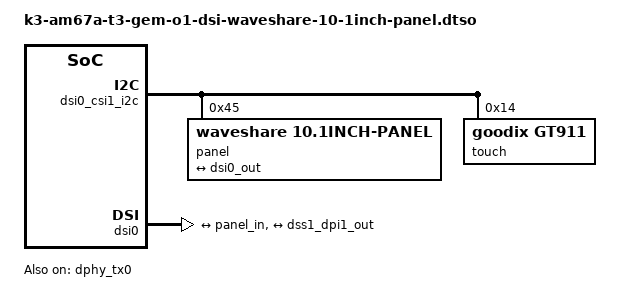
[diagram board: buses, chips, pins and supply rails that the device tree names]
// SPDX-License-Identifier: GPL-2.0
/**
 * DT Overlay for RPi 10.1inch touchscreen panel interfaced with DSI on
 *
 * Waveshare DSI Panel: https://www.waveshare.com/product/10.1inch-dsi-lcd-c.htm
 *
 * Copyright (C) 2025 T3 Foundation - https://www.t3vakfi.org
 */

/dts-v1/;
/plugin/;

#include <dt-bindings/gpio/gpio.h>
#include <dt-bindings/interrupt-controller/irq.h>

/*
 * Helper to show loaded overlays under: /proc/device-tree/chosen/overlays/
 */
&{/chosen} {
	overlays {
		k3-am67a-t3-gem-o1-dsi-rpi-10-1inch-c-panel.kernel = __TIMESTAMP__;
	};
};

&{/} {
	mipi_switch: mipi-switch {
		oe-pin {
			default-state = "off";
		};

		sel-pin {
			default-state = "off";
		};
	};

};

&dphy_tx0 {
	status = "okay";
};

&dsi0_csi1_i2c {
	#address-cells = <1>;
	#size-cells = <0>;

	panel: panel_disp1@45 {
		reg = <0x45>;
		compatible = "waveshare,10.1inch-panel";

		port {
			panel_in: endpoint {
				remote-endpoint = <&dsi0_out>;
			};
		};
	};

	touch: goodix@14 {
		reg = <0x14>;
		compatible = "goodix,gt911";
		
		touchscreen-inverted-x;
		touchscreen-swapped-x-y;

		touchscreen-size-x = < 800 >;
		touchscreen-size-y = < 1280 >;
	};
};

&dsi0 {
	status = "okay";
	#address-cells = <1>;
	#size-cells = <0>;

	ports {
		#address-cells = <1>;
		#size-cells = <0>;

		port@0 {
			reg = <0>;
			dsi0_out: endpoint {
				remote-endpoint = <&panel_in>;
			};
		};

		port@1 {
			reg = <1>;
			dsi0_in: endpoint {
				remote-endpoint = <&dss1_dpi1_out>;
			};
		};
	};

};

&dss1_ports {
	#address-cells = <1>;
	#size-cells = <0>;

	/* DSS1-VP2: DSI Output */
	port@1 {
		reg = <1>;
		dss1_dpi1_out: endpoint {
			remote-endpoint = <&dsi0_in>;
		};
	};
};
